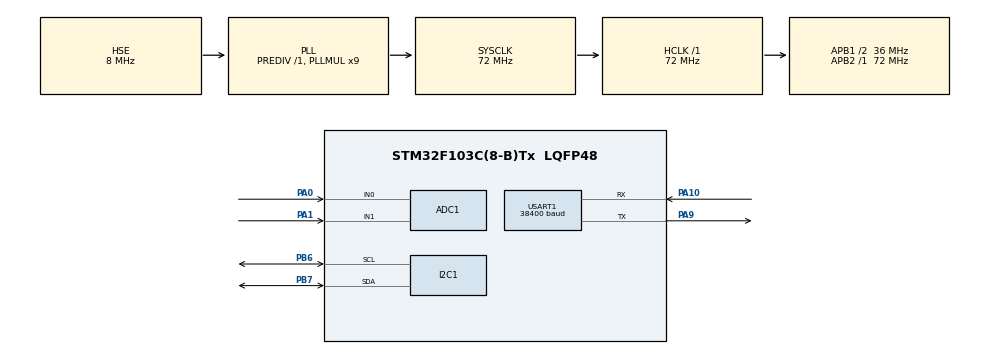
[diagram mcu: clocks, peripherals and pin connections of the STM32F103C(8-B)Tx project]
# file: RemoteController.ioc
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ADC1.Channel-0\#ChannelRegularConversion=ADC_CHANNEL_0
ADC1.Channel-1\#ChannelRegularConversion=ADC_CHANNEL_1
ADC1.ContinuousConvMode=ENABLE
ADC1.NbrOfConversion=2
ADC1.NbrOfConversionFlag=1
ADC1.Rank-0\#ChannelRegularConversion=1
ADC1.Rank-1\#ChannelRegularConversion=2
ADC1.SamplingTime-0\#ChannelRegularConversion=ADC_SAMPLETIME_28CYCLES_5
ADC1.SamplingTime-1\#ChannelRegularConversion=ADC_SAMPLETIME_71CYCLES_5
ADC1.master=1
I2C1.I2C_Mode=I2C_Fast
Mcu.Family=STM32F1
Mcu.Name=STM32F103C(8-B)Tx
Mcu.Package=LQFP48
NVIC.PriorityGroup=NVIC_PRIORITYGROUP_4
NVIC.TIM1_UP_IRQn=true\:0\:0\:false\:false\:true\:true\:true\:true
NVIC.USART1_IRQn=true\:0\:0\:false\:false\:true\:true\:true\:true
PA0-WKUP.Signal=ADCx_IN0
PA1.Signal=ADCx_IN1
PA10.Mode=Asynchronous
PA10.Signal=USART1_RX
PA13.Mode=Serial_Wire
PA13.Signal=SYS_JTMS-SWDIO
PA14.Mode=Serial_Wire
PA14.Signal=SYS_JTCK-SWCLK
PA9.Mode=Asynchronous
PA9.Signal=USART1_TX
PB6.Mode=I2C
PB6.Signal=I2C1_SCL
PB7.Mode=I2C
PB7.Signal=I2C1_SDA
PD0-OSC_IN.Mode=HSE-External-Oscillator
PD0-OSC_IN.Signal=RCC_OSC_IN
PD1-OSC_OUT.Mode=HSE-External-Oscillator
PD1-OSC_OUT.Signal=RCC_OSC_OUT
ProjectManager.HeapSize=0x200
ProjectManager.StackSize=0x400
ProjectManager.TargetToolchain=STM32CubeIDE
RCC.ADCPresc=RCC_ADCPCLK2_DIV6
RCC.AHBFreq_Value=72000000
RCC.APB1CLKDivider=RCC_HCLK_DIV2
RCC.APB1Freq_Value=36000000
RCC.APB1TimFreq_Value=72000000
RCC.APB2Freq_Value=72000000
RCC.APB2TimFreq_Value=72000000
RCC.HCLKFreq_Value=72000000
RCC.PLLMUL=RCC_PLL_MUL9
RCC.PLLSourceVirtual=RCC_PLLSOURCE_HSE
RCC.SYSCLKFreq_VALUE=72000000
RCC.SYSCLKSource=RCC_SYSCLKSOURCE_PLLCLK
RCC.USBFreq_Value=72000000
SH.ADCx_IN0.0=ADC1_IN0,IN0
SH.ADCx_IN1.0=ADC1_IN1,IN1
TIM1.Period=100
TIM1.Prescaler=719
USART1.BaudRate=38400
USART1.VirtualMode=VM_ASYNC
VP_TIM1_VS_ClockSourceINT.Mode=Internal
board=custom

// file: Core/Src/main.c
/* USER CODE BEGIN Header */
/**
  ******************************************************************************
  * @file           : main.c
  * @brief          : Main program body
  ******************************************************************************
  * @attention
  *
  * Copyright (c) 2023 STMicroelectronics.
  * All rights reserved.
  *
  * This software is licensed under terms that can be found in the LICENSE file
  * in the root directory of this software component.
  * If no LICENSE file comes with this software, it is provided AS-IS.
  *
  ******************************************************************************
  */
/* USER CODE END Header */
#include "main.h"

/* USER CODE BEGIN Includes */
#include "ssd1306.h"
#include "fonts.h"
#include "test.h"
#include "bitmap.h"
/* USER CODE END Includes */

/* USER CODE BEGIN PD */
#define read_adc_period 100
#define update_screen_period 100
/* USER CODE END PD */

 ADC_HandleTypeDef hadc1;

I2C_HandleTypeDef hi2c1;

TIM_HandleTypeDef htim1;

UART_HandleTypeDef huart1;

/* USER CODE BEGIN PV */
//Counters for timed actions, initial values - time offsets
uint16_t read_adc_counter = 0;
uint16_t update_screen_counter = 50;

uint8_t str[32];
uint32_t adc_value[2];

uint16_t left_throttle = 0;
uint16_t right_throttle = 0;
uint8_t left_transmit = 0;
uint8_t right_transmit = 0;
uint8_t transmit_switch = 0; //Left or right throttle
SSD1306_COLOR_t draw_color = SSD1306_COLOR_BLACK;
/* USER CODE END PV */

void SystemClock_Config(void);
static void MX_GPIO_Init(void);
static void MX_I2C1_Init(void);
static void MX_TIM1_Init(void);
static void MX_USART1_UART_Init(void);
static void MX_ADC1_Init(void);
/* USER CODE BEGIN PFP */

void Read_ADC(void);
void Calculate_Throttle(void);
void Update_Screen(void);
void Transmit_Throttle(uint8_t throttle);
void Select_ADC_Channel(uint8_t channel);

/* USER CODE END PFP */

int main(void)
{

  /* MCU Configuration--------------------------------------------------------*/

  /* Reset of all peripherals, Initializes the Flash interface and the Systick. */
  HAL_Init();

  /* Configure the system clock */
  SystemClock_Config();

  /* Initialize all configured peripherals */
  MX_GPIO_Init();
  MX_I2C1_Init();
  MX_TIM1_Init();
  MX_USART1_UART_Init();
  MX_ADC1_Init();
  /* USER CODE BEGIN 2 */

  USART1->DR = 0x2E;

  HAL_TIM_Base_Start_IT(&htim1); // start timer
  HAL_ADCEx_Calibration_Start(&hadc1); //Calibrate ADC

  SSD1306_Init (); // initialize the display

  SSD1306_DrawBitmap(43, 17 , car, 48, 35, 1);

  SSD1306_UpdateScreen();

  /* USER CODE END 2 */

  /* Infinite loop */
  while (1)
  {

  }
}

void SystemClock_Config(void)
{
  RCC_OscInitTypeDef RCC_OscInitStruct = {0};
  RCC_ClkInitTypeDef RCC_ClkInitStruct = {0};
  RCC_PeriphCLKInitTypeDef PeriphClkInit = {0};

  /** Initializes the RCC Oscillators according to the specified parameters
  * in the RCC_OscInitTypeDef structure.
  */
  RCC_OscInitStruct.OscillatorType = RCC_OSCILLATORTYPE_HSE;
  RCC_OscInitStruct.HSEState = RCC_HSE_ON;
  RCC_OscInitStruct.HSEPredivValue = RCC_HSE_PREDIV_DIV1;
  RCC_OscInitStruct.HSIState = RCC_HSI_ON;
  RCC_OscInitStruct.PLL.PLLState = RCC_PLL_ON;
  RCC_OscInitStruct.PLL.PLLSource = RCC_PLLSOURCE_HSE;
  RCC_OscInitStruct.PLL.PLLMUL = RCC_PLL_MUL9;
  if (HAL_RCC_OscConfig(&RCC_OscInitStruct) != HAL_OK)
  {
    Error_Handler();
  }

  /** Initializes the CPU, AHB and APB buses clocks
  */
  RCC_ClkInitStruct.ClockType = RCC_CLOCKTYPE_HCLK|RCC_CLOCKTYPE_SYSCLK
                              |RCC_CLOCKTYPE_PCLK1|RCC_CLOCKTYPE_PCLK2;
  RCC_ClkInitStruct.SYSCLKSource = RCC_SYSCLKSOURCE_PLLCLK;
  RCC_ClkInitStruct.AHBCLKDivider = RCC_SYSCLK_DIV1;
  RCC_ClkInitStruct.APB1CLKDivider = RCC_HCLK_DIV2;
  RCC_ClkInitStruct.APB2CLKDivider = RCC_HCLK_DIV1;

  if (HAL_RCC_ClockConfig(&RCC_ClkInitStruct, FLASH_LATENCY_2) != HAL_OK)
  {
    Error_Handler();
  }
  PeriphClkInit.PeriphClockSelection = RCC_PERIPHCLK_ADC;
  PeriphClkInit.AdcClockSelection = RCC_ADCPCLK2_DIV6;
  if (HAL_RCCEx_PeriphCLKConfig(&PeriphClkInit) != HAL_OK)
  {
    Error_Handler();
  }
}

static void MX_ADC1_Init(void)
{

  ADC_ChannelConfTypeDef sConfig = {0};

  /** Common config
  */
  hadc1.Instance = ADC1;
  hadc1.Init.ScanConvMode = ADC_SCAN_ENABLE;
  hadc1.Init.ContinuousConvMode = ENABLE;
  hadc1.Init.DiscontinuousConvMode = DISABLE;
  hadc1.Init.ExternalTrigConv = ADC_SOFTWARE_START;
  hadc1.Init.DataAlign = ADC_DATAALIGN_RIGHT;
  hadc1.Init.NbrOfConversion = 1;
  if (HAL_ADC_Init(&hadc1) != HAL_OK)
  {
    Error_Handler();
  }

  /** Configure Regular Channel
  */
//  sConfig.Channel = ADC_CHANNEL_0;
//  sConfig.Rank = ADC_REGULAR_RANK_1;
//  sConfig.SamplingTime = ADC_SAMPLETIME_28CYCLES_5;
//  if (HAL_ADC_ConfigChannel(&hadc1, &sConfig) != HAL_OK)
//  {
//    Error_Handler();
//  }

  /** Configure Regular Channel
  */
//  sConfig.Channel = ADC_CHANNEL_1;
//  sConfig.Rank = ADC_REGULAR_RANK_2;
//  if (HAL_ADC_ConfigChannel(&hadc1, &sConfig) != HAL_OK)
//  {
//    Error_Handler();
//  }

}

static void MX_I2C1_Init(void)
{

  hi2c1.Instance = I2C1;
  hi2c1.Init.ClockSpeed = 400000;
  hi2c1.Init.DutyCycle = I2C_DUTYCYCLE_2;
  hi2c1.Init.OwnAddress1 = 0;
  hi2c1.Init.AddressingMode = I2C_ADDRESSINGMODE_7BIT;
  hi2c1.Init.DualAddressMode = I2C_DUALADDRESS_DISABLE;
  hi2c1.Init.OwnAddress2 = 0;
  hi2c1.Init.GeneralCallMode = I2C_GENERALCALL_DISABLE;
  hi2c1.Init.NoStretchMode = I2C_NOSTRETCH_DISABLE;
  if (HAL_I2C_Init(&hi2c1) != HAL_OK)
  {
    Error_Handler();
  }

}

static void MX_TIM1_Init(void)
{

  TIM_ClockConfigTypeDef sClockSourceConfig = {0};
  TIM_MasterConfigTypeDef sMasterConfig = {0};

  htim1.Instance = TIM1;
  htim1.Init.Prescaler = 719;
  htim1.Init.CounterMode = TIM_COUNTERMODE_UP;
  htim1.Init.Period = 100;
  htim1.Init.ClockDivision = TIM_CLOCKDIVISION_DIV1;
  htim1.Init.RepetitionCounter = 0;
  htim1.Init.AutoReloadPreload = TIM_AUTORELOAD_PRELOAD_DISABLE;
  if (HAL_TIM_Base_Init(&htim1) != HAL_OK)
  {
    Error_Handler();
  }
  sClockSourceConfig.ClockSource = TIM_CLOCKSOURCE_INTERNAL;
  if (HAL_TIM_ConfigClockSource(&htim1, &sClockSourceConfig) != HAL_OK)
  {
    Error_Handler();
  }
  sMasterConfig.MasterOutputTrigger = TIM_TRGO_RESET;
  sMasterConfig.MasterSlaveMode = TIM_MASTERSLAVEMODE_DISABLE;
  if (HAL_TIMEx_MasterConfigSynchronization(&htim1, &sMasterConfig) != HAL_OK)
  {
    Error_Handler();
  }

}

static void MX_USART1_UART_Init(void)
{

  huart1.Instance = USART1;
  huart1.Init.BaudRate = 38400;
  huart1.Init.WordLength = UART_WORDLENGTH_8B;
  huart1.Init.StopBits = UART_STOPBITS_1;
  huart1.Init.Parity = UART_PARITY_NONE;
  huart1.Init.Mode = UART_MODE_TX_RX;
  huart1.Init.HwFlowCtl = UART_HWCONTROL_NONE;
  huart1.Init.OverSampling = UART_OVERSAMPLING_16;
  if (HAL_UART_Init(&huart1) != HAL_OK)
  {
    Error_Handler();
  }

}

static void MX_GPIO_Init(void)
{

  /* GPIO Ports Clock Enable */
  __HAL_RCC_GPIOD_CLK_ENABLE();
  __HAL_RCC_GPIOA_CLK_ENABLE();
  __HAL_RCC_GPIOB_CLK_ENABLE();

}

/* USER CODE BEGIN 4 */

//Process timer interrupts
void HAL_TIM_PeriodElapsedCallback(TIM_HandleTypeDef *htim){

	if(htim == &htim1){ //Check if it's TIM1

    read_adc_counter++;
    update_screen_counter++;

    if (read_adc_counter == read_adc_period){
			read_adc_counter = 0;
			Read_ADC();
      Calculate_Throttle();
		}

    if (update_screen_counter == update_screen_period){
			update_screen_counter = 0;
			Update_Screen();
      //Transmit values alternately
      if (transmit_switch == 0)
      {
        transmit_switch = 1;
        Transmit_Throttle(left_transmit);
      }
      else{
        transmit_switch = 0;
        Transmit_Throttle(right_transmit);
      }
		}
	}
}

//Ticks once per second
void Read_ADC(void){

//	USART1->DR = 0x2E; //Send char '.' to UART (to test that UART and timer work)

  for (size_t i = 0; i < 2; i++)
  {
    Select_ADC_Channel(i);
    HAL_ADC_Start(&hadc1);
    HAL_ADC_PollForConversion(&hadc1, 10);
    adc_value[i] = HAL_ADC_GetValue(&hadc1);
  }

}

//Selecting ADC channel
void Select_ADC_Channel(uint8_t channel){

	ADC_ChannelConfTypeDef sConfig = {0};
  sConfig.Rank = 1;
	sConfig.SamplingTime = ADC_SAMPLETIME_28CYCLES_5;

  switch (channel)
  {
    case 0:
      sConfig.Channel = ADC_CHANNEL_0;
      break;
    case 1:
      sConfig.Channel = ADC_CHANNEL_1;
      break;

    default:
      break;
  }

	if (HAL_ADC_ConfigChannel(&hadc1, &sConfig) != HAL_OK)
	{
		Error_Handler();
	}

}

void Calculate_Throttle(void){

  //Calculate values for transmission
  if (adc_value[0] < 2048) //Left forward
  {
    left_transmit = ((2047 - adc_value[0]) / 8) >> 2; //Reduce definition by 2 digits to contain motor index and direction
    if (left_transmit < 16) //Reduce noise
    {
      left_transmit = 0;
    }

    left_transmit = left_transmit & 0x7F; //Set motor index
    left_transmit = left_transmit & 0xBF; //Set direction bit
  }
  else{ //Left reverse
    left_transmit = ((adc_value[0] - 2048) / 8) >> 2;
    if (left_transmit < 16) //Reduce noise
    {
      left_transmit = 0;
    }

    left_transmit = left_transmit & 0x7F; //Set motor index
    left_transmit = left_transmit | 0x40; //Set direction bit
  }

  if (adc_value[1] < 2048) //Right forward
  {
    right_transmit = ((2047 - adc_value[1]) / 8) >> 2; //Reduce definition by 2 digits to contain motor index and direction
    if (right_transmit < 16) //Reduce noise
    {
      right_transmit = 0;
    }

    right_transmit = right_transmit | 0x80; //Set motor index
    right_transmit = right_transmit & 0xBF; //Set direction bit
  }
  else{ //Right reverse
    right_transmit = ((adc_value[1] - 2048) / 8) >> 2;
    if (right_transmit < 16) //Reduce noise
    {
      right_transmit = 0;
    }

    right_transmit = right_transmit | 0x80; //Set motor index
    right_transmit = right_transmit | 0x40; //Set direction bit
  }

  //Calculate values to show on screen
  left_throttle = adc_value[0] / 64;
  right_throttle = adc_value[1] / 64;
  // left_throttle = left_transmit ^ 1 << 6; //Toggle 6th bit cause displayed values should be more for forward direction
  // left_throttle = left_throttle >> 1; //Shift right to reduce scale from 128 to 64 for full throttle
  // right_throttle = right_transmit ^ 1 << 6;
  // right_throttle = right_throttle & 0x7F; //Set most significant bit to 0 cause motor indes is not being used on the display
  // right_throttle = right_throttle >> 1;

}

void Update_Screen(void){

  //Display numeric values (for debug)
  // for (size_t i = 0; i < 2; i++)
  // {
  //   sprintf(&str, "%4d", adc_value[i]);
  //   SSD1306_GotoXY(2, i * 10);
  //   SSD1306_Puts (str, &Font_7x10, 1);
  // }

  // sprintf(&str, "%4d", left_transmit);
  // SSD1306_GotoXY(2, 30);
  // SSD1306_Puts (str, &Font_7x10, 1);

  // sprintf(&str, "%4d", right_transmit);
  // SSD1306_GotoXY(2, 40);
  // SSD1306_Puts (str, &Font_7x10, 1);

  //Draw left and right throttle bars (for fancy look)
  for (size_t i = 0; i < 64; i++)
  {
    if (left_throttle < 32)
    {
      if (left_throttle <= i && i <= 32)
      {
        draw_color = SSD1306_COLOR_WHITE;
      }
      else{
        draw_color = SSD1306_COLOR_BLACK;
      }
    }
    else if (left_throttle > 32)
    {
      if (left_throttle >= i && i > 32)
      {
        draw_color = SSD1306_COLOR_WHITE;
      }
      else{
        draw_color = SSD1306_COLOR_BLACK;
      }
    }
    else
    {
      draw_color = SSD1306_COLOR_BLACK;
    }

    SSD1306_DrawLine(2, i, 16, i, draw_color);

    if (right_throttle < 32)
    {
      if (right_throttle <= i && i <= 32)
      {
        draw_color = SSD1306_COLOR_WHITE;
      }
      else{
        draw_color = SSD1306_COLOR_BLACK;
      }
    }
    else if (right_throttle > 32)
    {
      if (right_throttle >= i && i > 32)
      {
        draw_color = SSD1306_COLOR_WHITE;
      }
      else{
        draw_color = SSD1306_COLOR_BLACK;
      }
    }
    else
    {
      draw_color = SSD1306_COLOR_BLACK;
    }

    SSD1306_DrawLine(113, i, 129, i, draw_color);
  }

  SSD1306_UpdateScreen();

}

void Transmit_Throttle(uint8_t throttle){
  USART1->DR = throttle;
}

/* USER CODE END 4 */

void Error_Handler(void)
{
  __disable_irq();
  while (1)
  {
  }
}
